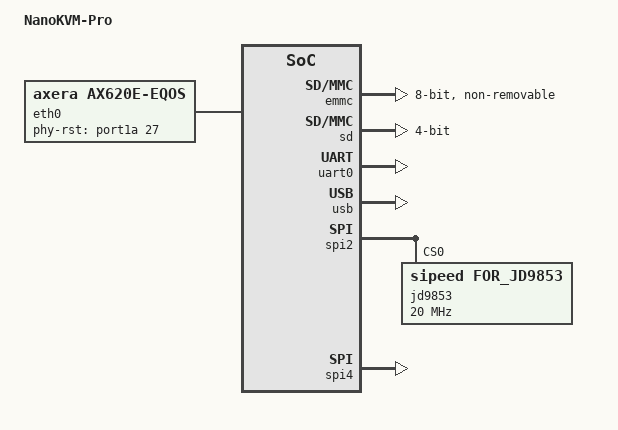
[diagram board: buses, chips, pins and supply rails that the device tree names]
// SPDX-License-Identifier: GPL-2.0
/**************************************************************************************************
 *
 * Copyright (c) 2019-2024 Axera Semiconductor Co., Ltd. All Rights Reserved.
 *
 * This dts file is the property of Axera Semiconductor Co., Ltd. and
 * may not be copied or distributed in any isomorphic form without the prior
 * written consent of Axera Semiconductor Co., Ltd.
 *
 **************************************************************************************************/

/dts-v1/;
#include "ax620e.dtsi"
/ {
	model = "NanoKVM-Pro";

	chosen {
		//bootargs = "mem=704M earlycon=uart8250,mmio32,0x4880000 board_id=0x5,boot_reason=0x00,initcall_debug=0 loglevel=8 usbcore.autosuspend=-1 root=/dev/mmcblk0p17 rootfstype=ext4 rw rootwait blkdevparts=mmcblk0:768K(spl),512K(ddrinit),256K(atf),256K(atf_b),1536K(uboot),1536K(uboot_b),1M(env),6M(logo),6M(logo_b),1M(optee),1M(optee_b),1M(dtb),1M(dtb_b),64M(kernel),64M(kernel_b),128M(boot),-(rootfs) logomode=vo0@dpi logomode=vo0@dsi_dpi_video";
		stdout-path = "/serial@4880000";
	};

	emmc: mmc@1B40000 {
		compatible = "axera,ax620e-sdhc";
		reg = <0x0 0x1B40000 0x0 0x1000>;
		interrupts = <0 9 4>;
		bus-width = <8>;
		sdhci-caps-mask = <0x2 0x03200000>;
		sdhci-caps = <0x0 0x00040000>;
		non-removable;
		cdns,phy-input-delay-sd-highspeed = <2>;
		cdns,phy-input-delay-legacy = <4>;
		cdns,phy-input-delay-sd-uhs-sdr12 = <1>;
		cdns,phy-input-delay-sd-uhs-sdr25 = <2>;
		cdns,phy-input-delay-sd-uhs-sdr50 = <1>;
		cdns,phy-input-delay-sd-uhs-ddr50 = <2>;
		cdns,phy-input-delay-mmc-legacy = <1>;
		cdns,phy-input-delay-mmc-highspeed = <2>;
		cdns,phy-input-delay-mmc-ddr = <2>;
		cdns,phy-dll-delay-sdclk = <0>;
		cdns,phy-dll-delay-sdclk-hsmmc = <23>;
		cdns,phy-dll-delay-strobe = <18>;
		status = "okay";
	};

	sd: mmc@104E0000 {
		compatible = "axera,ax620e-sdhc";
		reg = <0x0 0x104E0000 0x0 0x1000>;
		interrupts = <0 74 4>;

		bus-width = <4>;
		cap-sd-highspeed;
		/*sd-uhs-sdr12;
		sd-uhs-sdr25;
		sd-uhs-sdr50;*/
		no-sdio;
		no-mmc;
		disable-wp;
		no-1-8-v;
		broken-cd;

		cdns,phy-input-delay-sd-highspeed = <2>;
		cdns,phy-input-delay-legacy = <3>;
		cdns,phy-input-delay-sd-uhs-sdr12 = <3>;
		cdns,phy-input-delay-sd-uhs-sdr25 = <2>;
		cdns,phy-input-delay-sd-uhs-sdr50 = <0>;
		cdns,phy-input-delay-sd-uhs-ddr50 = <0>;
		cdns,phy-dll-delay-sdclk = <0>;

		status = "okay";
	};

	eth0: ethernet@0x104C0000{
		compatible = "axera,ax620e-eqos";
		phy-rst-gpio = <&port1a 27 0>; /* GPIO1_A27 */
		status = "okay";
	};
};

&i2c0 {
	status = "disabled";
	/delete-property/ pinctrl-names;
	/delete-property/ pinctrl-0;
	/delete-property/ pinctrl-1;
};

&i2c1 {
	status = "disabled";
	/delete-property/ pinctrl-names;
	/delete-property/ pinctrl-0;
	/delete-property/ pinctrl-1;
};

&i2c2 {
	status = "disabled";
};

&i2c3 {
	status = "disabled";
};

&uart0 {
	status = "okay";
};

&uart1 {
	status = "disabled";
};

&uart2 {
	status = "disabled";
};

&emmc{
	sdhci-caps-mask = <0x2 0x03200000>;
	bus-width = <8>;
	cdns,phy-input-delay-sd-highspeed = <2>;
	cdns,phy-input-delay-legacy = <4>;
	cdns,phy-input-delay-sd-uhs-sdr12 = <1>;
	cdns,phy-input-delay-sd-uhs-sdr25 = <2>;
	cdns,phy-input-delay-sd-uhs-sdr50 = <1>;
	cdns,phy-input-delay-sd-uhs-ddr50 = <2>;
	cdns,phy-input-delay-mmc-legacy = <1>;
	cdns,phy-input-delay-mmc-highspeed = <2>;
	cdns,phy-input-delay-mmc-ddr = <2>;
	cdns,phy-dll-delay-sdclk = <0>;
	cdns,phy-dll-delay-sdclk-hsmmc = <23>;
	cdns,phy-dll-delay-strobe = <18>;
	status = "okay";
};

&sd{
	bus-width = <4>;
	cap-sd-highspeed;
	no-sdio;
	no-mmc;
	disable-wp;
	broken-cd;

	cdns,phy-input-delay-sd-highspeed = <2>;
	cdns,phy-input-delay-legacy = <3>;
	cdns,phy-input-delay-sd-uhs-sdr12 = <3>;
	cdns,phy-input-delay-sd-uhs-sdr25 = <2>;
	cdns,phy-input-delay-sd-uhs-sdr50 = <0>;
	cdns,phy-input-delay-sd-uhs-ddr50 = <0>;
	cdns,phy-dll-delay-sdclk = <0>;

	status = "okay";
};

&i2c4 {
	status = "disabled";
};

&i2c6 {
	/delete-property/ pinctrl-names;
	/delete-property/ pinctrl-0;
	/delete-property/ pinctrl-1;
};

&i2c7 {
	status = "disabled";
	/delete-property/ pinctrl-names;
	/delete-property/ pinctrl-0;
	/delete-property/ pinctrl-1;
};

&usb {
	status = "okay";
};

&spi1 {
	status = "disabled";
	cs-gpio = <&ax_gpio0 2 0>; // should be port0a
	// /delete-property/ cs-gpio;

	led_strip: led_strip@0 {
		compatible = "spidev";
		reg = <0>;
		spi-max-frequency = <8000000>;
		status = "okay";
	};
};

&spi2 {
	status = "okay";
	spi-max-frequency = <20000000>;
	cs-gpio = <&port0a 27 0>;

	jd9853: panel_spi@0 {
		compatible = "sipeed,for_jd9853";
		spi-tx-bus-width = <1>;
		spi-rx-bus-width = <1>;
		spi-max-frequency = <20000000>;
		reg = <0x00>;
		panel-init-seq = [ff 00 03 df 98 53
				  ff 00 02 b2 23
				  ff 00 05 b7 00 47 00 6f
				  ff 00 07 bb 1c 1a 55 73 63 f0
				  ff 00 03 c0 44 a4
				  ff 00 02 c1 12
				  ff 00 09 c3 7d 07 14 06 cf 71 72 77
				  ff 00 0d c4 00 00 a0 79 0b 0a 16 79 0b 0a 16 82
				  ff 00 21 c8 3f 32 29 29 27 2b 27 28 28 26 25 17 12 0d 04 00 3f 32 29 29 27 2b 27 28 28 26 25 17 12 0d 04 00
				  ff 00 06 d0 04 06 6b 0f 00
				  ff 00 03 d7 00 30
				  ff 00 02 e6 14
				  ff 00 02 de 01
				  ff 00 06 b7 03 13 ef 35 35
				  ff 00 04 c1 14 15 c0
				  ff 00 03 c2 06 3a
				  ff 00 03 c4 72 12
				  ff 00 02 be 00
				  ff 00 02 de 02
				  ff 00 04 e5 00 02 00
				  ff 00 04 e5 01 02 00
				  ff 00 02 de 00
				  ff 00 01 34
				  ff 00 03 44 00 00
				  ff 00 02 35 00
				  ff 00 03 44 00 00
				  ff 00 02 3a 55
				  ff 00 02 36 00
				  ff 00 05 2a 00 22 00 cd
				  ff 00 05 2b 00 00 01 3f
				  ff 00 02 35 00
				  ff 00 01 2c ff 78 01 11
				  ff 00 02 de 02
				  ff 00 04 e5 00 02 00
				  ff 00 02 de 00 ff 0a 01 29
				  ff 00 05 2a 00 22 00 cd
				  ff 00 05 2b 00 00 01 3f];
		dc = <1 11 0x1>;
		rst = <1 9 0x0>;
		bl = <1 8 0x1>;
	};
};

&spi4 {
	status = "okay";
	/*spi_nand@0 {
		compatible = "spi-nand";
		reg = <0>;
		rx-sample-delay-ns = <4>;
		spi-max-frequency = <50000000>;
	};*/
	/*spi_flash@0 {
		#address-cells = <1>;
		#size-cells = <1>;
		compatible = "jedec,spi-nor";
		reg = <0>;
		spi-max-frequency = <50000000>;
	};*/
};
